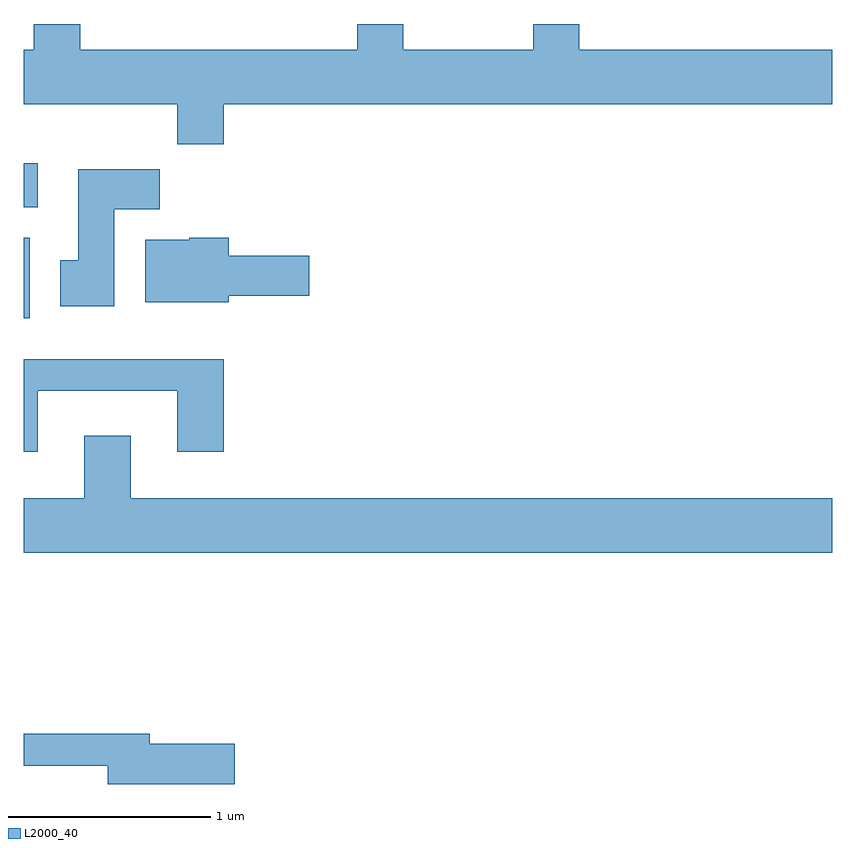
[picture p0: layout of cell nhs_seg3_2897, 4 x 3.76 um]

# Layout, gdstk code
import gdstk
lib = gdstk.Library(unit=1e-6, precision=1e-09)
def R(c, l, rs):  # rectangles x0, y0, x1, y1
    for r in rs: c.add(gdstk.rectangle(r[:2], r[2:], *l))
def P(c, l, *ps):  # polygons
    for p in ps: c.add(gdstk.Polygon(p, *l))
L2000_40 = (2000, 40)

nhs_seg3_2897 = lib.new_cell('nhs_seg3_2897')
R(nhs_seg3_2897, L2000_40, [(269.611,1200.436,269.639,1200.834), (269.611,1200.986,269.679,1201.204)])
P(nhs_seg3_2897, L2000_40, [(273.611,1201.764),(272.359,1201.764),(272.359,1201.892),(272.131,1201.892),(272.131,1201.764),(271.489,1201.764),(271.489,1201.892),(271.261,1201.892),(271.261,1201.764),(269.889,1201.764),(269.889,1201.892),(269.661,1201.892),(269.661,1201.764),(269.611,1201.764),(269.611,1201.496),(270.371,1201.496),(270.371,1201.296),(270.599,1201.296),(270.599,1201.496),(273.611,1201.496)],
  [(270.059,1200.976),(270.284,1200.976),(270.284,1201.174),(269.881,1201.174),(269.881,1200.724),(269.791,1200.724),(269.791,1200.496),(270.059,1200.496)],
  [(270.624,1200.546),(271.024,1200.546),(271.024,1200.744),(270.624,1200.744),(270.624,1200.834),(270.43,1200.834),(270.43,1200.824),(270.211,1200.824),(270.211,1200.516),(270.624,1200.516)],
  [(269.679,1200.076),(270.371,1200.076),(270.371,1199.776),(270.599,1199.776),(270.599,1200.234),(269.611,1200.234),(269.611,1199.776),(269.679,1199.776)],
  [(273.611,1199.544),(270.139,1199.544),(270.139,1199.854),(269.911,1199.854),(269.911,1199.544),(269.611,1199.544),(269.611,1199.276),(273.611,1199.276)],
  [(270.654,1198.329),(270.234,1198.329),(270.234,1198.379),(269.611,1198.379),(269.611,1198.221),(270.026,1198.221),(270.026,1198.131),(270.654,1198.131)])

lib.write_gds('nhs_seg3_2897.gds')
